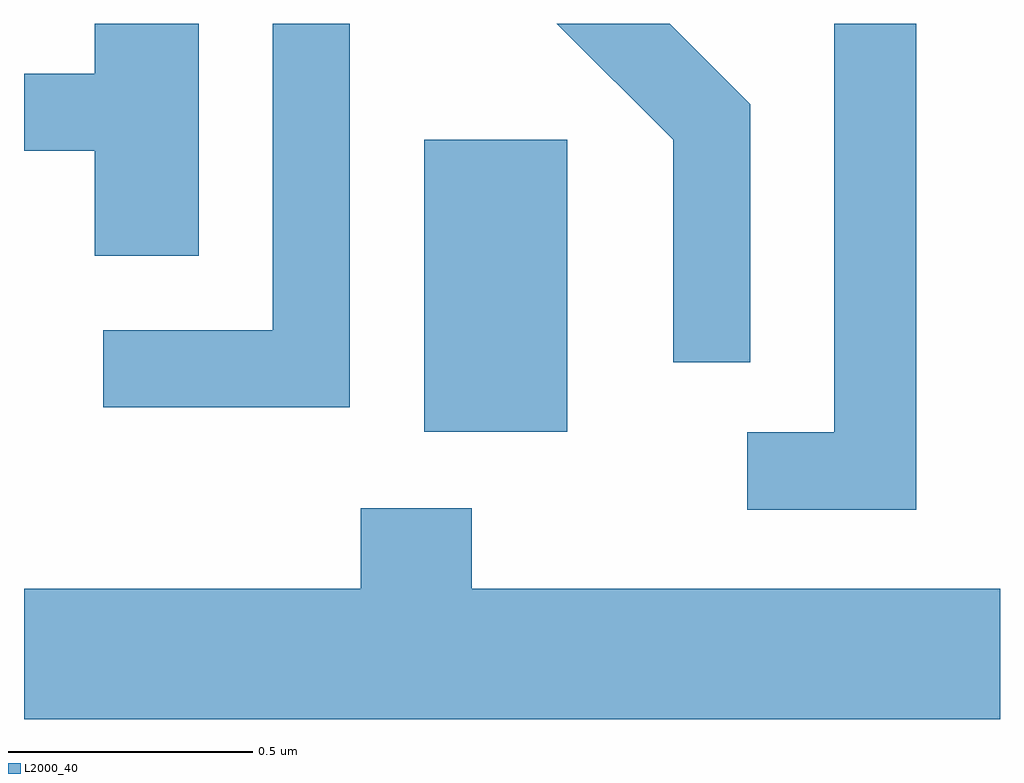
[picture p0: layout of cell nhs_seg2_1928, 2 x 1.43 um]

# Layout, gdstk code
import gdstk
lib = gdstk.Library(unit=1e-6, precision=1e-09)
def R(c, l, rs):  # rectangles x0, y0, x1, y1
    for r in rs: c.add(gdstk.rectangle(r[:2], r[2:], *l))
def P(c, l, *ps):  # polygons
    for p in ps: c.add(gdstk.Polygon(p, *l))
L2000_40 = (2000, 40)

nhs_seg2_1928 = lib.new_cell('nhs_seg2_1928')
R(nhs_seg2_1928, L2000_40, [(200.431,988.966,200.724,989.564)])
P(nhs_seg2_1928, L2000_40, [(201.439,989.802),(201.271,989.802),(201.271,988.964),(201.093,988.964),(201.093,988.806),(201.439,988.806)],
  [(200.279,989.802),(200.121,989.802),(200.121,989.174),(199.773,989.174),(199.773,989.016),(200.279,989.016)],
  [(201.099,989.637),(200.934,989.802),(200.703,989.802),(200.941,989.564),(200.941,989.108),(201.099,989.108)],
  [(199.969,989.802),(199.756,989.802),(199.756,989.699),(199.611,989.699),(199.611,989.541),(199.756,989.541),(199.756,989.326),(199.969,989.326)],
  [(201.611,988.644),(200.529,988.644),(200.529,988.809),(200.301,988.809),(200.301,988.644),(199.611,988.644),(199.611,988.376),(201.611,988.376)])

lib.write_gds('nhs_seg2_1928.gds')
